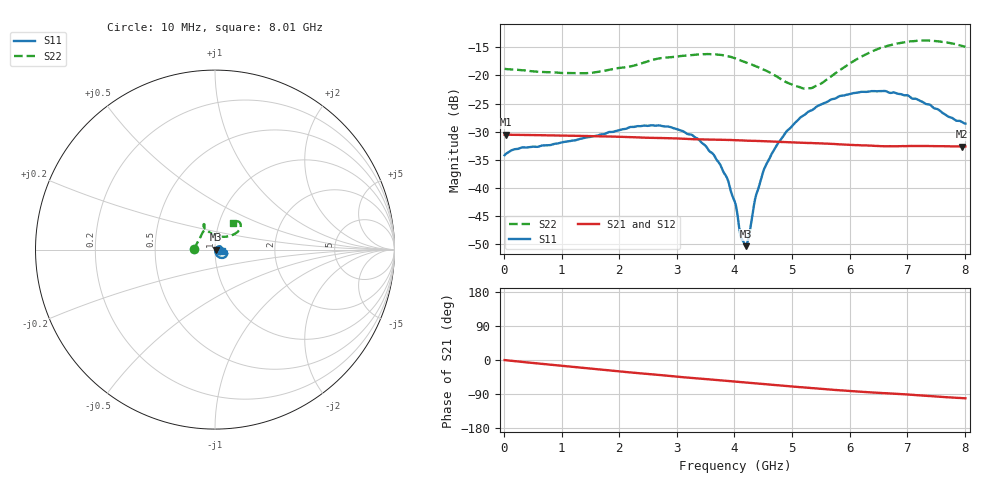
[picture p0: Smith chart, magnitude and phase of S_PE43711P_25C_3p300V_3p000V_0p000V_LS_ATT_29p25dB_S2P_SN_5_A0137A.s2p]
! Device ID: PE43711P
! File Path: z:\PE43711P\CHAR_NOM_04282014\AMB\3p300\LS_ATT_29p25dB\PE43711P_AMB_3p300V_3p000V_0p000V_LS_ATT_29p25dB_S2P_SN_5_A0137A.s2p
! Serial: 5
! Lot: A0137A
! Temp: 25C
! VDD: 3.300
! VSS: 0.000
! Control_Hi: 3.000
! Control_Lo: 0.000
! Attenuation Step: 29.25dB
! Port 1: RF1
! Port 2: RF2
! ThroughPath:1-2
! IDD: 0.0001278424
! ISS: -1.121e-007
#  Hz  S  RI  R  50
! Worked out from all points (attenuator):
!   801 points, 10 MHz to 8.01 GHz, reference 50 ohm
!   highest |S21| = -30.51 dB at 40 MHz (marker M1); lowest = -32.6 dB at 7.95 GHz (marker M2)
!   lowest |S11| = -50.3 dB at 4.2 GHz (marker M3), VSWR 1.01, Z = 50.3 - j0.122 ohm
!   |S11| at or under -10 dB: start of sweep to end of sweep
!   |S22| runs from -22.3 to -13.8 dB; largest |S21 - S12| = 0.00011
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1e7  0.0196 0.000548  0.0298 -0.00011  0.0298 -0.000124  -0.1148 0.000916
4e7  0.0203 0.00111  0.0298 -0.000339  0.0298 -0.000339  -0.114 0.00258
1.35e9  0.0266 0.00715  0.0273 -0.0102  0.0273 -0.0102  -0.0876 0.0568
2.2e9  0.0326 0.0125  0.0238 -0.0154  0.0238 -0.0154  -0.0633 0.1025
2.68e9  0.032 0.0167  0.0216 -0.0177  0.0216 -0.0177  -0.0587 0.1287
3.25e9  0.0235 0.0184  0.0185 -0.02  0.0185 -0.02  -0.0584 0.14
3.49e9  0.0173 0.0167  0.0173 -0.0207  0.0173 -0.0207  -0.0612 0.1421
3.76e9  0.0102 0.0122  0.0159 -0.0216  0.0159 -0.0216  -0.064 0.1383
3.88e9  0.00752 0.00938  0.0152 -0.022  0.0152 -0.022  -0.0642 0.1339
4.01e9  0.00516 0.0054  0.0145 -0.0224  0.0144 -0.0224  -0.0629 0.1275
4.12e9  0.00337 0.00117  0.0138 -0.0227  0.0138 -0.0227  -0.0592 0.1215
4.2e9  0.0028 -0.00122  0.0133 -0.0228  0.0133 -0.0228  -0.0558 0.118
4.25e9  0.00219 -0.003  0.013 -0.0229  0.013 -0.0229  -0.0535 0.1161
4.38e9  0.00171 -0.00865  0.0123 -0.0232  0.0123 -0.0232  -0.0476 0.1107
4.55e9  0.00277 -0.0159  0.0113 -0.0235  0.0113 -0.0235  -0.0387 0.1033
4.9e9  0.00872 -0.0305  0.00927 -0.0239  0.00924 -0.0239  -0.014 0.0861
5.35e9  0.0242 -0.043  0.00687 -0.0242  0.00687 -0.0242  0.029 0.072
5.85e9  0.0478 -0.0455  0.00416 -0.0241  0.00416 -0.0241  0.0835 0.0769
6.68e9  0.0673 -0.0214  0.000775 -0.0236  0.000821 -0.0235  0.14 0.1205
7.3e9  0.0565 -0.00438  -0.00175 -0.0236  -0.00176 -0.0236  0.1363 0.1526
7.95e9  0.0383 -0.00486  -0.00428 -0.023  -0.00434 -0.0231  0.1032 0.1517
8.01e9  0.0369 -0.00647  -0.00446 -0.023  -0.00453 -0.023  0.1004 0.1491
